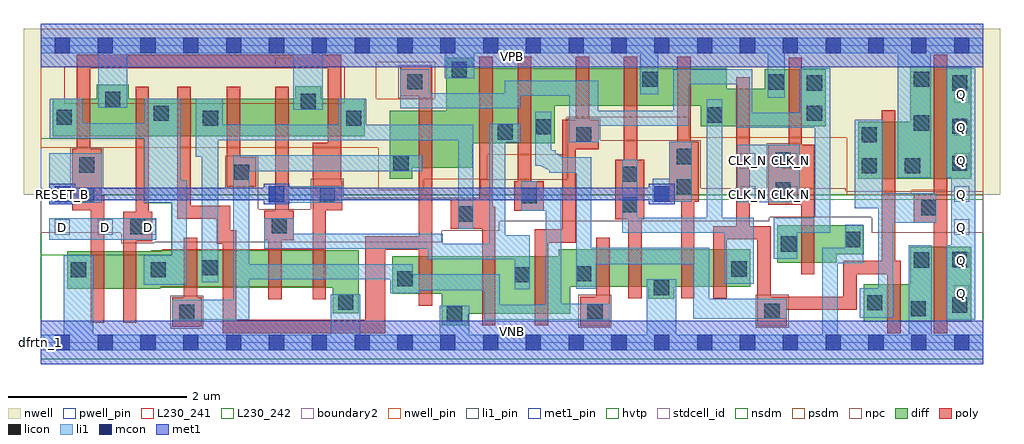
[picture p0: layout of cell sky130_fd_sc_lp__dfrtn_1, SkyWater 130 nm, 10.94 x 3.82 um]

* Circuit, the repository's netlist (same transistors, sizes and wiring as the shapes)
* Copyright 2020 The SkyWater PDK Authors
*
* Licensed under the Apache License, Version 2.0 (the "License");
* you may not use this file except in compliance with the License.
* You may obtain a copy of the License at
*
*     https://www.apache.org/licenses/LICENSE-2.0
*
* Unless required by applicable law or agreed to in writing, software
* distributed under the License is distributed on an "AS IS" BASIS,
* WITHOUT WARRANTIES OR CONDITIONS OF ANY KIND, either express or implied.
* See the License for the specific language governing permissions and
* limitations under the License.
*
* SPDX-License-Identifier: Apache-2.0

.SUBCKT sky130_fd_sc_lp__dfrtn_1 CLK_N D RESET_B VGND VNB VPB VPWR Q
*.PININFO CLK_N:I D:I RESET_B:I VGND:I VNB:I VPB:I VPWR:I Q:O
MI46 clkneg clkpos VGND VNB sky130_fd_pr__nfet_01v8 m=1 w=0.42U l=0.15U mult=1
+ sa=0.265 sb=0.265 sd=0.28 area=0.063 perim=1.14
MI42 db clkneg M0 VNB sky130_fd_pr__nfet_01v8 m=1 w=0.42U l=0.15U mult=1 sa=0.265
+ sb=0.265 sd=0.28 area=0.063 perim=1.14
MI656 net86 s0 net116 VNB sky130_fd_pr__nfet_01v8 m=1 w=0.42U l=0.15U mult=1 sa=0.265
+ sb=0.265 sd=0.28 area=0.063 perim=1.14
MI657 net116 RESET_B VGND VNB sky130_fd_pr__nfet_01v8 m=1 w=0.42U l=0.15U mult=1
+ sa=0.265 sb=0.265 sd=0.28 area=0.063 perim=1.14
MI33 net109 RESET_B VGND VNB sky130_fd_pr__nfet_01v8 m=1 w=0.42U l=0.15U mult=1
+ sa=0.265 sb=0.265 sd=0.28 area=0.063 perim=1.14
MI4 M0 clkpos net101 VNB sky130_fd_pr__nfet_01v8 m=1 w=0.42U l=0.15U mult=1 sa=0.265
+ sb=0.265 sd=0.28 area=0.063 perim=1.14
MI34 net101 M1 net109 VNB sky130_fd_pr__nfet_01v8 m=1 w=0.42U l=0.15U mult=1 sa=0.265
+ sb=0.265 sd=0.28 area=0.063 perim=1.14
MI655 s0 clkneg net85 VNB sky130_fd_pr__nfet_01v8 m=1 w=0.42U l=0.15U mult=1 sa=0.265
+ sb=0.265 sd=0.28 area=0.063 perim=1.14
MI652 net153 s0 VGND VNB sky130_fd_pr__nfet_01v8 m=1 w=0.42U l=0.15U mult=1 sa=0.265
+ sb=0.265 sd=0.28 area=0.063 perim=1.14
MI653 Q net153 VGND VNB sky130_fd_pr__nfet_01v8 m=1 w=0.84U l=0.15U mult=1 sa=0.265
+ sb=0.265 sd=0.28 area=0.063 perim=1.14
MI654 net85 net86 VGND VNB sky130_fd_pr__nfet_01v8 m=1 w=0.42U l=0.15U mult=1 sa=0.265
+ sb=0.265 sd=0.28 area=0.063 perim=1.14
MI44 clkpos CLK_N VGND VNB sky130_fd_pr__nfet_01v8 m=1 w=0.42U l=0.15U mult=1 sa=0.265
+ sb=0.265 sd=0.28 area=0.063 perim=1.14
MI647 M1 M0 VGND VNB sky130_fd_pr__nfet_01v8 m=1 w=0.64U l=0.15U mult=1 sa=0.265
+ sb=0.265 sd=0.28 area=0.063 perim=1.14
MI39 db D net69 VNB sky130_fd_pr__nfet_01v8 m=1 w=0.42U l=0.15U mult=1 sa=0.265
+ sb=0.265 sd=0.28 area=0.063 perim=1.14
MI38 net69 RESET_B VGND VNB sky130_fd_pr__nfet_01v8 m=1 w=0.42U l=0.15U mult=1
+ sa=0.265 sb=0.265 sd=0.28 area=0.063 perim=1.14
MI649 M1 clkpos s0 VNB sky130_fd_pr__nfet_01v8 m=1 w=0.64U l=0.15U mult=1 sa=0.265
+ sb=0.265 sd=0.28 area=0.063 perim=1.14
MI47 clkneg clkpos VPWR VPB sky130_fd_pr__pfet_01v8_hvt m=1 w=0.64U l=0.15U mult=1
+ sa=0.265 sb=0.265 sd=0.28 area=0.063 perim=1.14
MI43 db clkpos M0 VPB sky130_fd_pr__pfet_01v8_hvt m=1 w=0.42U l=0.15U mult=1 sa=0.265
+ sb=0.265 sd=0.28 area=0.063 perim=1.14
MI662 net172 net86 VPWR VPB sky130_fd_pr__pfet_01v8_hvt m=1 w=0.42U l=0.15U mult=1
+ sa=0.265 sb=0.265 sd=0.28 area=0.063 perim=1.14
MI659 net86 RESET_B VPWR VPB sky130_fd_pr__pfet_01v8_hvt m=1 w=0.42U l=0.15U mult=1
+ sa=0.265 sb=0.265 sd=0.28 area=0.063 perim=1.14
MI664 s0 clkpos net172 VPB sky130_fd_pr__pfet_01v8_hvt m=1 w=0.42U l=0.15U mult=1
+ sa=0.265 sb=0.265 sd=0.28 area=0.063 perim=1.14
MI658 net86 s0 VPWR VPB sky130_fd_pr__pfet_01v8_hvt m=1 w=0.42U l=0.15U mult=1
+ sa=0.265 sb=0.265 sd=0.28 area=0.063 perim=1.14
MI30 net160 M1 VPWR VPB sky130_fd_pr__pfet_01v8_hvt m=1 w=0.42U l=0.15U mult=1
+ sa=0.265 sb=0.265 sd=0.28 area=0.063 perim=1.14
MI31 M0 clkneg net160 VPB sky130_fd_pr__pfet_01v8_hvt m=1 w=0.42U l=0.15U mult=1
+ sa=0.265 sb=0.265 sd=0.28 area=0.063 perim=1.14
MI32 M0 RESET_B VPWR VPB sky130_fd_pr__pfet_01v8_hvt m=1 w=0.42U l=0.15U mult=1
+ sa=0.265 sb=0.265 sd=0.28 area=0.063 perim=1.14
MI663 net153 s0 VPWR VPB sky130_fd_pr__pfet_01v8_hvt m=1 w=0.64U l=0.15U mult=1
+ sa=0.265 sb=0.265 sd=0.28 area=0.063 perim=1.14
MI660 Q net153 VPWR VPB sky130_fd_pr__pfet_01v8_hvt m=1 w=1.26U l=0.15U mult=1
+ sa=0.265 sb=0.265 sd=0.28 area=0.063 perim=1.14
MI45 clkpos CLK_N VPWR VPB sky130_fd_pr__pfet_01v8_hvt m=1 w=0.64U l=0.15U mult=1
+ sa=0.265 sb=0.265 sd=0.28 area=0.063 perim=1.14
MI648 M1 M0 VPWR VPB sky130_fd_pr__pfet_01v8_hvt m=1 w=0.84U l=0.15U mult=1 sa=0.265
+ sb=0.265 sd=0.28 area=0.063 perim=1.14
MI41 db RESET_B VPWR VPB sky130_fd_pr__pfet_01v8_hvt m=1 w=0.42U l=0.15U mult=1
+ sa=0.265 sb=0.265 sd=0.28 area=0.063 perim=1.14
MI40 db D VPWR VPB sky130_fd_pr__pfet_01v8_hvt m=1 w=0.42U l=0.15U mult=1 sa=0.265
+ sb=0.265 sd=0.28 area=0.063 perim=1.14
MI650 M1 clkneg s0 VPB sky130_fd_pr__pfet_01v8_hvt m=1 w=0.84U l=0.15U mult=1 sa=0.265
+ sb=0.265 sd=0.28 area=0.063 perim=1.14
.ENDS sky130_fd_sc_lp__dfrtn_1

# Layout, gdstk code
import gdstk
lib = gdstk.Library(unit=1e-6, precision=1e-09)
def R(c, l, rs):  # rectangles x0, y0, x1, y1
    for r in rs: c.add(gdstk.rectangle(r[:2], r[2:], *l))
def A(c, l, x, y, w, h, nx, ny, dx, dy):  # array of equal rectangles
    R(c, l, [(x+i*dx, y+j*dy, x+i*dx+w, y+j*dy+h) for i in range(nx) for j in range(ny)])
def P(c, l, *ps):  # polygons
    for p in ps: c.add(gdstk.Polygon(p, *l))
nwell_pin = (64, 16)
nwell = (64, 20)
diff = (65, 20)
poly = (66, 20)
licon = (66, 44)
li1_pin = (67, 16)
li1 = (67, 20)
mcon = (67, 44)
met1_pin = (68, 16)
met1 = (68, 20)
hvtp = (78, 44)
stdcell_id = (81, 4)
nsdm = (93, 44)
psdm = (94, 20)
npc = (95, 20)
pwell_pin = (122, 16)
L230_241 = (230, 241)
L230_242 = (230, 242)
boundary2 = (236, 0)

sky130_fd_sc_lp__dfrtn_1 = lib.new_cell('sky130_fd_sc_lp__dfrtn_1')
R(sky130_fd_sc_lp__dfrtn_1, nwell_pin, [(0,3.085,10.56,3.33)])
R(sky130_fd_sc_lp__dfrtn_1, nwell, [(-0.19,1.655,10.75,3.52)])
P(sky130_fd_sc_lp__dfrtn_1, diff, [(3.56,1.035),(1.235,1.035),(1.235,1.025),(0.295,1.025),(0.295,0.605),(1.335,0.605),(1.335,0.615),(3.27,0.615),(3.27,0.33),(3.56,0.33)],
  [(3.63,2.735),(3.14,2.735),(3.14,2.87),(2.85,2.87),(2.85,2.735),(0.985,2.735),(0.985,2.89),(0.625,2.89),(0.625,2.735),(0.135,2.735),(0.135,2.315),(3.63,2.315)],
  [(7.95,1.045),(5.805,1.045),(5.805,0.965),(3.935,0.965),(3.935,0.545),(4.49,0.545),(4.49,0.195),(4.79,0.195),(4.79,0.325),(5.935,0.325),(5.935,0.625),(6.81,0.625),(6.81,0.49),(7.1,0.49),(7.1,0.625),(7.95,0.625)],
  [(8.795,3.065),(8.115,3.065),(8.115,2.845),(7.685,2.845),(7.685,3.075),(4.84,3.075),(4.84,3.195),(4.545,3.195),(4.545,2.6),(3.91,2.6),(3.91,1.835),(4.16,1.835),(4.16,1.96),(4.84,1.96),(4.84,2.235),(5.76,2.235),(5.76,2.655),(7.395,2.655),(7.395,2.425),(8.795,2.425)],
  [(9.225,1.315),(8.255,1.315),(8.255,0.895),(8.92,0.895),(8.92,0.99),(9.225,0.99)],
  [(10.425,3.095),(9.745,3.095),(9.745,2.475),(9.16,2.475),(9.16,1.835),(10.425,1.835)],
  [(10.425,1.075),(9.745,1.075),(9.745,0.655),(9.22,0.655),(9.22,0.235),(10.425,0.235)])
P(sky130_fd_sc_lp__dfrtn_1, poly, [(1.25,1.465),(1.21,1.465),(1.21,2.865),(1.06,2.865),(1.06,1.465),(0.92,1.465),(0.92,0.22),(1.07,0.22),(1.07,1.135),(1.25,1.135)],
  [(10.16,3.225),(10.01,3.225),(10.01,1.675),(9.785,1.675),(9.785,1.345),(10.01,1.345),(10.01,0.105),(10.16,0.105)],
  [(1.8,0.505),(1.75,0.505),(1.75,1.175),(1.6,1.175),(1.6,0.505),(1.47,0.505),(1.47,0.175),(1.8,0.175)],
  [(2.415,2.075),(2.235,2.075),(2.235,2.865),(2.085,2.865),(2.085,1.745),(2.415,1.745)],
  [(2.835,1.475),(2.775,1.475),(2.775,2.865),(2.625,2.865),(2.625,1.475),(2.505,1.475),(2.505,1.145),(2.55,1.145),(2.55,0.485),(2.7,0.485),(2.7,1.145),(2.835,1.145)],
  [(3.375,1.815),(3.365,1.815),(3.365,3.225),(0.4,3.225),(0.4,2.17),(0.35,2.17),(0.35,1.485),(0.56,1.485),(0.56,0.22),(0.71,0.22),(0.71,1.65),(0.68,1.65),(0.68,2.17),(0.55,2.17),(0.55,3.075),(3.215,3.075),(3.215,2.24),(3.045,2.24),(3.045,0.485),(3.195,0.485),(3.195,1.485),(3.375,1.485)],
  [(4.385,3.09),(4.025,3.09),(4.025,2.76),(4.235,2.76),(4.235,1.19),(3.635,1.19),(3.635,0.255),(2.19,0.255),(2.19,1.26),(2.12,1.26),(2.12,1.535),(1.68,1.535),(1.68,2.865),(1.53,2.865),(1.53,1.385),(1.97,1.385),(1.97,1.11),(2.04,1.11),(2.04,0.105),(3.86,0.105),(3.86,1.04),(4.235,1.04),(4.235,0.415),(4.385,0.415)],
  [(5.095,1.52),(5.065,1.52),(5.065,3.205),(4.915,3.205),(4.915,1.605),(4.595,1.605),(4.595,1.275),(4.945,1.275),(4.945,0.195),(5.095,0.195)],
  [(5.635,1.81),(5.495,1.81),(5.495,3.205),(5.345,3.205),(5.345,1.81),(5.305,1.81),(5.305,1.48),(5.635,1.48)],
  [(6.25,2.495),(6.145,2.495),(6.145,3.205),(5.995,3.205),(5.995,2.495),(5.845,2.495),(5.845,1.27),(5.535,1.27),(5.535,0.195),(5.685,0.195),(5.685,1.12),(5.995,1.12),(5.995,2.165),(6.25,2.165)],
  [(6.375,1.175),(6.225,1.175),(6.225,0.515),(6.045,0.515),(6.045,0.185),(6.375,0.185)],
  [(6.765,2.05),(6.685,2.05),(6.685,3.205),(6.535,3.205),(6.535,2.05),(6.435,2.05),(6.435,1.38),(6.585,1.38),(6.585,0.495),(6.735,0.495),(6.735,1.38),(6.765,1.38)],
  [(7.375,2.25),(7.285,2.25),(7.285,3.205),(7.135,3.205),(7.135,2.25),(7.045,2.25),(7.045,1.58),(7.175,1.58),(7.175,0.495),(7.325,0.495),(7.325,1.58),(7.375,1.58)],
  [(8.67,2.215),(8.53,2.215),(8.53,3.195),(8.38,3.195),(8.38,2.215),(8.155,2.215),(8.155,1.545),(8.52,1.545),(8.52,0.765),(8.67,0.765)],
  [(9.635,0.915),(9.575,0.915),(9.575,2.605),(9.425,2.605),(9.425,0.915),(8.995,0.915),(8.995,0.515),(8.18,0.515),(8.18,1.305),(7.945,1.305),(7.945,2.975),(7.795,2.975),(7.795,1.305),(7.535,1.305),(7.535,0.495),(7.685,0.495),(7.685,1.155),(8.03,1.155),(8.03,0.185),(8.36,0.185),(8.36,0.365),(9.145,0.365),(9.145,0.765),(9.485,0.765),(9.485,0.105),(9.635,0.105)])
R(sky130_fd_sc_lp__dfrtn_1, licon, [(4.55,0.235,4.72,0.405), (1.55,0.255,1.72,0.425), (6.125,0.265,6.295,0.435), (8.11,0.265,8.28,0.435), (9.75,0.295,9.92,0.465), (10.215,0.335,10.385,0.505), (9.26,0.36,9.43,0.53), (3.33,0.37,3.5,0.54), (6.87,0.53,7.04,0.7), (3.995,0.63,4.165,0.8), (5.31,0.675,5.48,0.845), (6,0.685,6.17,0.855), (0.335,0.73,0.505,0.9), (1.23,0.73,1.4,0.9), (7.74,0.74,7.91,0.91), (1.805,0.755,1.975,0.925), (9.785,0.84,9.955,1.01), (10.215,0.845,10.385,1.015), (8.295,1.02,8.465,1.19), (9.015,1.07,9.185,1.24), (1,1.215,1.17,1.385), (2.585,1.225,2.755,1.395), (4.675,1.355,4.845,1.525), (9.865,1.425,10.035,1.595), (6.515,1.46,6.685,1.63), (5.385,1.56,5.555,1.73), (0.43,1.565,0.6,1.735), (3.125,1.565,3.295,1.735), (8.235,1.625,8.405,1.795), (7.125,1.66,7.295,1.83), (6.515,1.8,6.685,1.97), (2.165,1.825,2.335,1.995), (9.2,1.895,9.37,2.065), (9.685,1.895,9.855,2.065), (0.43,1.905,0.6,2.075), (10.215,1.925,10.385,2.095), (3.95,1.93,4.12,2.1), (8.235,1.965,8.405,2.135), (7.125,2,7.295,2.17), (6,2.245,6.17,2.415), (9.2,2.245,9.37,2.415), (5.12,2.275,5.29,2.445), (5.55,2.335,5.72,2.505), (10.215,2.34,10.385,2.51), (9.785,2.375,9.955,2.545), (1.815,2.43,1.985,2.6), (3.42,2.43,3.59,2.6), (0.175,2.44,0.345,2.61), (7.465,2.465,7.635,2.635), (1.265,2.485,1.435,2.655), (8.585,2.485,8.755,2.655), (2.91,2.62,3.08,2.79), (0.72,2.64,0.89,2.81), (8.585,2.825,8.755,2.995), (10.215,2.825,10.385,2.995), (8.155,2.835,8.325,3.005), (4.105,2.84,4.275,3.01), (6.74,2.865,6.91,3.035), (9.785,2.865,9.955,3.035), (4.605,2.975,4.775,3.145)])
A(sky130_fd_sc_lp__dfrtn_1, li1_pin, 10.235, 0.47, 0.17, 0.17, 1, 7, 0, 0.37)
A(sky130_fd_sc_lp__dfrtn_1, li1_pin, 0.155, 1.21, 0.17, 0.17, 3, 1, 0.48, 0)
R(sky130_fd_sc_lp__dfrtn_1, li1_pin, [(7.835,1.58,8.005,1.75), (8.315,1.58,8.485,1.75), (7.835,1.95,8.005,2.12), (8.315,1.95,8.485,2.12)])
R(sky130_fd_sc_lp__dfrtn_1, li1, [(0.095,1.15,1.295,1.395), (0.095,1.565,0.68,2.12), (2.555,1.565,3.375,1.75), (7.805,1.57,8.505,2.215)])
P(sky130_fd_sc_lp__dfrtn_1, li1, [(1.635,1.82),(1.565,1.82),(1.565,2.735),(1.16,2.735),(1.16,2.46),(0.47,2.46),(0.47,2.735),(0.1,2.735),(0.1,2.29),(1.16,2.29),(1.16,1.565),(1.465,1.565),(1.465,0.98),(1.15,0.98),(1.15,0.65),(1.635,0.65)],
  [(4.845,2.44),(3.645,2.44),(3.645,2.735),(3.33,2.735),(3.33,2.44),(2.04,2.44),(2.04,2.735),(1.735,2.735),(1.735,2.085),(1.805,2.085),(1.805,0.675),(1.985,0.675),(1.985,2.27),(4.675,2.27),(4.675,1.275),(4.845,1.275)],
  [(10.475,3.075),(10.145,3.075),(10.145,1.845),(10.205,1.845),(10.205,1.09),(10.155,1.09),(10.155,0.255),(10.475,0.255)],
  [(8.845,3.075),(8.505,3.075),(8.505,2.575),(7.975,2.575),(7.975,3.065),(7.09,3.065),(7.09,2.6),(6.245,2.6),(6.245,2.935),(5.2,2.935),(5.2,2.795),(4.355,2.795),(4.355,3.065),(4.025,3.065),(4.025,2.625),(5.37,2.625),(5.37,2.765),(5.92,2.765),(5.92,2.245),(6.25,2.245),(6.25,2.43),(7.26,2.43),(7.26,2.895),(7.805,2.895),(7.805,2.405),(8.675,2.405),(8.675,1.4),(8.215,1.4),(8.215,0.94),(8.475,0.94),(8.475,1.23),(8.845,1.23)],
  [(5.48,1.205),(5.205,1.205),(5.205,2.245),(5.37,2.245),(5.37,2.455),(5.025,2.455),(5.025,1.105),(4.505,1.105),(4.505,1.22),(2.835,1.22),(2.835,1.395),(2.505,1.395),(2.505,1.05),(4.335,1.05),(4.335,0.935),(5.31,0.935),(5.31,0.595),(5.48,0.595)],
  [(6.375,0.435),(5.83,0.435),(5.83,1.735),(5.555,1.735),(5.555,1.81),(5.385,1.81),(5.385,1.48),(5.66,1.48),(5.66,0.425),(5.14,0.425),(5.14,0.765),(4.165,0.765),(4.165,0.88),(2.335,0.88),(2.335,1.92),(4.275,1.92),(4.275,2.1),(2.155,2.1),(2.155,0.48),(1.47,0.48),(1.47,0.255),(2.335,0.255),(2.335,0.71),(3.915,0.71),(3.915,0.55),(4.245,0.55),(4.245,0.585),(4.97,0.585),(4.97,0.255),(6.375,0.255)],
  [(10.56,0.085),(9.985,0.085),(9.985,1.09),(9.725,1.09),(9.725,0.085),(8.93,0.085),(8.93,0.89),(9.215,0.89),(9.215,1.32),(9.015,1.32),(9.015,1.06),(8.76,1.06),(8.76,0.085),(7.12,0.085),(7.12,0.71),(6.79,0.71),(6.79,0.085),(4.8,0.085),(4.8,0.415),(4.47,0.415),(4.47,0.085),(3.58,0.085),(3.58,0.54),(3.25,0.54),(3.25,0.085),(0.585,0.085),(0.585,0.98),(0.255,0.98),(0.255,0.085),(0,0.085),(0,-0.085),(10.56,-0.085)],
  [(10.56,3.415),(0,3.415),(0,3.245),(0.64,3.245),(0.64,2.63),(0.97,2.63),(0.97,3.245),(2.83,3.245),(2.83,2.61),(3.16,2.61),(3.16,3.245),(4.525,3.245),(4.525,2.965),(4.855,2.965),(4.855,3.245),(6.72,3.245),(6.72,2.785),(6.92,2.785),(6.92,3.245),(8.145,3.245),(8.145,2.745),(8.335,2.745),(8.335,3.245),(9.605,3.245),(9.605,1.845),(9.975,1.845),(9.975,3.245),(10.56,3.245)],
  [(10.035,1.675),(9.435,1.675),(9.435,2.495),(9.12,2.495),(9.12,1.505),(9.385,1.505),(9.385,0.61),(9.18,0.61),(9.18,0.28),(9.555,0.28),(9.555,1.345),(10.035,1.345)],
  [(7.295,2.25),(7.045,2.25),(7.045,1.835),(6.855,1.835),(6.855,1.58),(7.295,1.58)],
  [(7.99,1.4),(7.635,1.4),(7.635,2.725),(7.465,2.725),(7.465,1.4),(6.685,1.4),(6.685,2.05),(6.515,2.05),(6.515,1.23),(7.66,1.23),(7.66,0.66),(7.99,0.66)],
  [(8.36,0.49),(7.49,0.49),(7.49,1.06),(6.17,1.06),(6.17,2.075),(5.83,2.075),(5.83,2.1),(5.8,2.1),(5.8,2.115),(5.77,2.115),(5.77,2.155),(5.72,2.155),(5.72,2.585),(5.54,2.585),(5.54,1.98),(5.61,1.98),(5.61,1.975),(5.625,1.975),(5.625,1.965),(5.64,1.965),(5.64,1.96),(5.655,1.96),(5.655,1.95),(5.68,1.95),(5.68,1.935),(5.7,1.935),(5.7,1.905),(6,1.905),(6,0.605),(6.225,0.605),(6.225,0.88),(7.31,0.88),(7.31,0.265),(8.36,0.265)])
A(sky130_fd_sc_lp__dfrtn_1, mcon, 0.155, -0.085, 0.17, 0.17, 22, 2, 0.48, 3.33)
R(sky130_fd_sc_lp__dfrtn_1, mcon, [(0.155,1.58,0.325,1.75), (2.555,1.58,2.725,1.75), (6.875,1.58,7.045,1.75)])
R(sky130_fd_sc_lp__dfrtn_1, met1_pin, [(0,0,10.56,0.245), (0.155,1.58,0.325,1.75), (0,3.085,10.56,3.33)])
R(sky130_fd_sc_lp__dfrtn_1, met1, [(0,-0.245,10.56,0.245), (0,3.085,10.56,3.575)])
P(sky130_fd_sc_lp__dfrtn_1, met1, [(2.785,1.735),(6.815,1.735),(6.815,1.78),(7.105,1.78),(7.105,1.55),(6.815,1.55),(6.815,1.595),(2.785,1.595),(2.785,1.55),(2.495,1.55),(2.495,1.595),(0.385,1.595),(0.385,1.55),(0.095,1.55),(0.095,1.78),(0.385,1.78),(0.385,1.735),(2.495,1.735),(2.495,1.78),(2.785,1.78)])
R(sky130_fd_sc_lp__dfrtn_1, hvtp, [(0,1.6,10.56,3.33)])
R(sky130_fd_sc_lp__dfrtn_1, stdcell_id, [(0,0,10.56,3.33)])
R(sky130_fd_sc_lp__dfrtn_1, nsdm, [(0,-0.19,10.56,1.655)])
P(sky130_fd_sc_lp__dfrtn_1, psdm, [(10.56,3.52),(4.415,3.52),(4.415,2.73),(3.76,2.73),(3.76,3.14),(4.415,3.14),(4.415,3.52),(0,3.52),(0,2.185),(3.78,2.185),(3.78,1.705),(4.29,1.705),(4.29,1.83),(5,1.83),(5,2.105),(5.89,2.105),(5.89,2.525),(7.265,2.525),(7.265,2.295),(9.03,2.295),(9.03,1.655),(9.755,1.655),(9.755,1.705),(10.145,1.705),(10.145,1.655),(10.56,1.655)])
R(sky130_fd_sc_lp__dfrtn_1, npc, [(1.45,0.155,1.82,0.525), (6.025,0.165,6.395,0.535), (8.01,0.165,8.38,0.535), (4.005,2.74,4.375,3.11)])
P(sky130_fd_sc_lp__dfrtn_1, npc, [(10.56,1.695),(9.02,1.695),(9.02,1.73),(8.505,1.73),(8.505,2.235),(8.135,2.235),(8.135,1.73),(7.395,1.73),(7.395,2.27),(6.27,2.27),(6.27,2.515),(5.9,2.515),(5.9,1.83),(4.925,1.83),(4.925,1.625),(3.395,1.625),(3.395,1.835),(3.025,1.835),(3.025,1.495),(2.435,1.495),(2.435,2.095),(2.065,2.095),(2.065,1.73),(0.7,1.73),(0.7,2.19),(0.33,2.19),(0.33,1.73),(0,1.73),(0,1.23),(0.9,1.23),(0.9,1.115),(1.27,1.115),(1.27,1.125),(4.495,1.125),(4.495,1.255),(5.135,1.255),(5.135,1.36),(8.165,1.36),(8.165,1.405),(9.315,1.405),(9.315,1.23),(10.56,1.23)])
R(sky130_fd_sc_lp__dfrtn_1, pwell_pin, [(0,0,10.56,0.245)])
R(sky130_fd_sc_lp__dfrtn_1, L230_241, [(0.095,1.15,1.295,1.395), (0.095,1.565,0.68,2.12)])
P(sky130_fd_sc_lp__dfrtn_1, L230_241, [(3.175,1.045),(1.36,1.045),(1.36,1.025),(0.295,1.025),(0.295,0.605),(1.335,0.605),(1.335,0.625),(3.175,0.625)],
  [(3.405,3.095),(2.915,3.095),(2.915,3.19),(2.625,3.19),(2.625,3.095),(0.26,3.095),(0.26,2.675),(3.405,2.675)])
P(sky130_fd_sc_lp__dfrtn_1, L230_242, [(1.465,1.565),(1.16,1.565),(1.16,2.29),(0,2.29),(0,0.98),(1.465,0.98)])
R(sky130_fd_sc_lp__dfrtn_1, boundary2, [(0,0,10.56,3.33)])
sky130_fd_sc_lp__dfrtn_1.add(gdstk.Label('VNB', (5.28,0.123), layer=64, texttype=59))
sky130_fd_sc_lp__dfrtn_1.add(gdstk.Label('VPB', (5.28,3.208), layer=64, texttype=5))
sky130_fd_sc_lp__dfrtn_1.add(gdstk.Label('dfrtn_1', (0,0), layer=83, texttype=44))
sky130_fd_sc_lp__dfrtn_1.add(gdstk.Label('RESET_B', (0.24,1.665), layer=68, texttype=5))
sky130_fd_sc_lp__dfrtn_1.add(gdstk.Label('VPWR', (5.28,3.208), layer=68, texttype=5))
sky130_fd_sc_lp__dfrtn_1.add(gdstk.Label('VGND', (5.28,0.123), layer=68, texttype=5))
sky130_fd_sc_lp__dfrtn_1.add(gdstk.Label('CLK_N', (7.92,1.665), layer=67, texttype=5))
sky130_fd_sc_lp__dfrtn_1.add(gdstk.Label('CLK_N', (7.92,2.035), layer=67, texttype=5))
sky130_fd_sc_lp__dfrtn_1.add(gdstk.Label('CLK_N', (8.4,2.035), layer=67, texttype=5))
sky130_fd_sc_lp__dfrtn_1.add(gdstk.Label('Q', (10.32,0.555), layer=67, texttype=5))
sky130_fd_sc_lp__dfrtn_1.add(gdstk.Label('Q', (10.32,0.925), layer=67, texttype=5))
sky130_fd_sc_lp__dfrtn_1.add(gdstk.Label('Q', (10.32,1.295), layer=67, texttype=5))
sky130_fd_sc_lp__dfrtn_1.add(gdstk.Label('Q', (10.32,1.665), layer=67, texttype=5))
sky130_fd_sc_lp__dfrtn_1.add(gdstk.Label('Q', (10.32,2.035), layer=67, texttype=5))
sky130_fd_sc_lp__dfrtn_1.add(gdstk.Label('Q', (10.32,2.405), layer=67, texttype=5))
sky130_fd_sc_lp__dfrtn_1.add(gdstk.Label('Q', (10.32,2.775), layer=67, texttype=5))
sky130_fd_sc_lp__dfrtn_1.add(gdstk.Label('D', (0.24,1.295), layer=67, texttype=5))
sky130_fd_sc_lp__dfrtn_1.add(gdstk.Label('D', (0.72,1.295), layer=67, texttype=5))
sky130_fd_sc_lp__dfrtn_1.add(gdstk.Label('D', (1.2,1.295), layer=67, texttype=5))
sky130_fd_sc_lp__dfrtn_1.add(gdstk.Label('CLK_N', (8.4,1.665), layer=67, texttype=5))

lib.write_gds('sky130_fd_sc_lp__dfrtn_1.gds')
